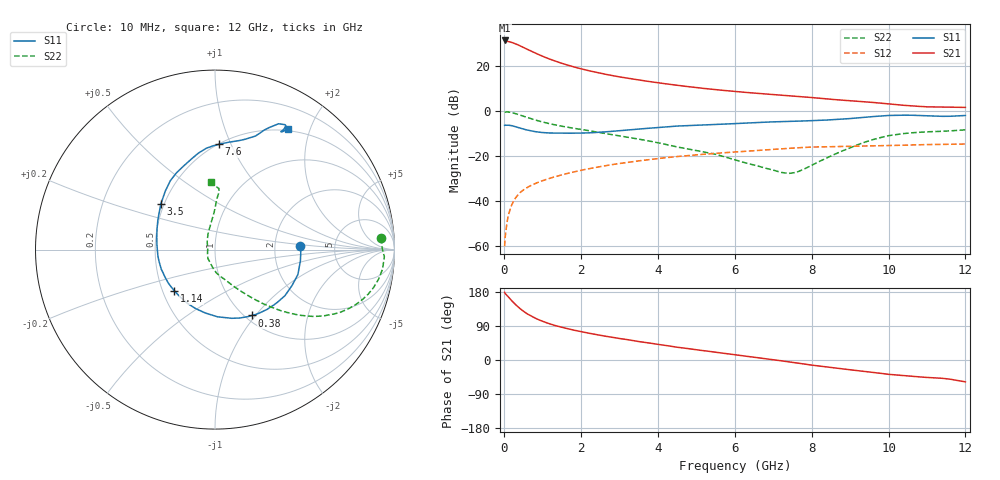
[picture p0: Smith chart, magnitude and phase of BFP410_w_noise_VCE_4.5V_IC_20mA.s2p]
! Infineon Technologies  Discrete & RF Semiconductors
! BFP410
! VCE =  4.5 V,  IC =  20 mA
! Common Emitter S-Parameters:  Nov 2015
# GHz  S  MA  R  50
!  f  S11  S21  S12  S22
! GHz  MAG  ANG  MAG  ANG  MAG  ANG  MAG  ANG
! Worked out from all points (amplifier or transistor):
!   243 points, 10 MHz to 12 GHz, reference 50 ohm
!   highest |S21| = 31.1 dB at 10 MHz (marker M1)
!   |S21| within 3 dB of that: start of sweep to 490.2 MHz
!   unconditionally stable (mu >= 1): start of sweep to 33 MHz; 1.902 GHz to end of sweep
!   at 240 MHz: K = 0.36, MSG = 35.1 dB, |S12| = -40.2 dB
!   at 1.84 GHz: K = 0.99, MSG = 23.1 dB, |S12| = -27.0 dB
!   at 12 GHz: K = 1.02, MAG = 7.2 dB, |S12| = -14.7 dB
!   lowest NFmin = 1.70 dB at 900 MHz
!   S11 on the Smith chart (normalised r, x): 10 MHz: 2.80, +0.14; 380 MHz: 1.08, -0.96; 1.14 GHz: 0.58, -0.29; 3.5 GHz: 0.48, +0.29; 7.6 GHz: 0.50, +0.90; 12 GHz: 0.48, +1.68
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0.01  0.4741 2.3  36.06 178.4  0.001 58.1  0.9277 4.0
0.02  0.4782 -1.7  35.45 176.2  0.0014 51.5  0.9318 0.3
0.05  0.48 -7.6  34.78 172.7  0.0024 64.5  0.9444 -2.4
0.1  0.4823 -16.8  34.3 167.3  0.0045 70.9  0.9397 -6.7
0.2  0.4667 -33.4  32.58 156.0  0.0084 71.6  0.9075 -13.6
0.3  0.4417 -49.0  30.29 145.7  0.0119 69.2  0.8598 -19.5
0.38  0.4214 -60.5  28.27 138.4  0.0144 67.0  0.8178 -23.5
0.5  0.3938 -76.4  25.3 128.7  0.0176 64.6  0.7553 -28.3
0.6  0.3746 -87.9  22.98 121.7  0.02 63.0  0.7075 -31.5
0.7  0.3573 -98.7  20.93 115.9  0.0222 62.0  0.6645 -34.1
0.9  0.3366 -116.9  17.5 106.1  0.0263 60.6  0.593 -38.0
1.14  0.3225 -134.7  14.41 97.0  0.031 59.7  0.5262 -41.4
1.48  0.3169 -154.3  11.37 86.8  0.0376 58.7  0.4574 -45.1
2.02  0.3204 -177.5  8.404 74.4  0.0484 56.3  0.3834 -49.5
2.6  0.3394 162.5  6.505 63.3  0.0599 52.7  0.3164 -54.2
3.5  0.3938 140.1  4.791 48.7  0.0775 46.2  0.2353 -62.3
4.1  0.4327 128.9  4.056 39.8  0.0892 41.3  0.1876 -69.4
6.1  0.5243 104.0  2.63 12.6  0.1238 24.4  0.0773 -110.6
7.6  0.5868 88.0  2.089 -7.6  0.1507 10.4  0.0431 163.2
8.2  0.6125 79.9  1.892 -16.0  0.1579 3.6  0.0753 123.6
10.2  0.7914 62.0  1.368 -39.5  0.1706 -12.7  0.2965 87.1
12  0.7848 58.6  1.186 -57.7  0.1836 -28.7  0.3775 93.3
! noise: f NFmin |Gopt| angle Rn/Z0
0.45  1.73  0.14  -155  0.16
0.9  1.7  0.14  -156  0.16
1.8  1.84  0.19  -141  0.17
2.4  1.84  0.24  -124  0.23
5.5  2.72  0.43  -103  0.42
10  3.83  0.7  -46  2.5
